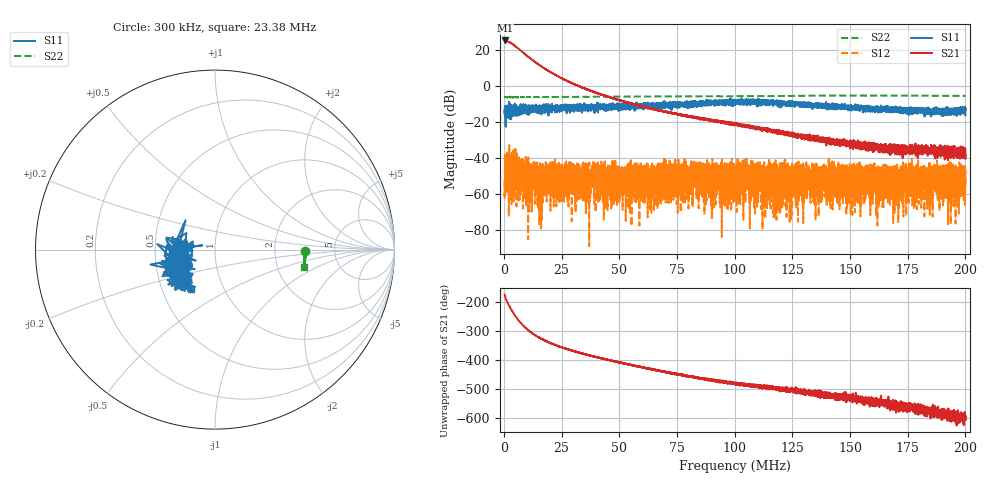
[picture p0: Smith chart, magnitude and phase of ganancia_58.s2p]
# Hz S DB R 50
! CMT, M5065, 19127446, 24.2.4/2
! Date: 11/8/2024 3:28:37 PM
! Data: Format (Calibration Info)
! Freq	S11:dB/Ang(F2)	S21:dB/Ang(F2)	S12:dB/Ang(F2)	S22:dB/Ang(F2)
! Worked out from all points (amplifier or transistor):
!   9000 points, 300 kHz to 200 MHz, reference 50 ohm
!   highest |S21| = 25.4 dB at 344.4 kHz (marker M1)
!   |S21| within 3 dB of that: start of sweep to 4.754 MHz
!   unconditionally stable (mu >= 1): start of sweep to end of sweep
!   at 33.59 MHz: K = 488.79, MAG = 1.1 dB, |S12| = -62.6 dB
!   at 100.2 MHz: K = 679.12, MAG = -19.2 dB, |S12| = -45.4 dB
!   at 200 MHz: K = 19539.64, MAG = -36.6 dB, |S12| = -56.9 dB
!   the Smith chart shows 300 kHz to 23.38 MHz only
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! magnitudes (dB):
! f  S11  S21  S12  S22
! 300 kHz  -13.5  25.4  -52.8  -6.0
! 344.4 kHz  -15.5  25.4  -50.0  -6.0
! 2.031 MHz  -10.9  24.6  -49.3  -6.0
! 11.17 MHz  -10.7  15.7  -51.9  -5.9
! 13.24 MHz  -13.8  13.7  -50.0  -6.0
! 15.57 MHz  -12.3  11.6  -47.3  -5.9
! 19.07 MHz  -12.2  8.7  -46.6  -5.9
! 33.59 MHz  -11.3  -0.5  -62.6  -5.9
! 66.87 MHz  -12.0  -13.3  -60.7  -5.7
! 83.32 MHz  -9.7  -17.2  -53.5  -5.6
! 90.57 MHz  -9.3  -19.1  -65.8  -5.6
! 100.2 MHz  -8.9  -21.3  -45.4  -5.5
! 105.1 MHz  -8.7  -22.5  -49.2  -5.5
! 120 MHz  -9.1  -26.1  -48.3  -5.4
! 122.4 MHz  -10.8  -27.1  -46.0  -5.4
! 123.4 MHz  -9.0  -26.2  -49.9  -5.4
! 133.4 MHz  -10.1  -28.8  -58.5  -5.3
! 166.7 MHz  -13.8  -37.4  -48.2  -5.2
! 186.8 MHz  -13.6  -33.4  -52.5  -5.3
! 189.7 MHz  -13.4  -37.9  -55.4  -5.3
! 198.2 MHz  -14.1  -35.1  -50.5  -5.3
! 200 MHz  -16.2  -38.2  -56.9  -5.4
